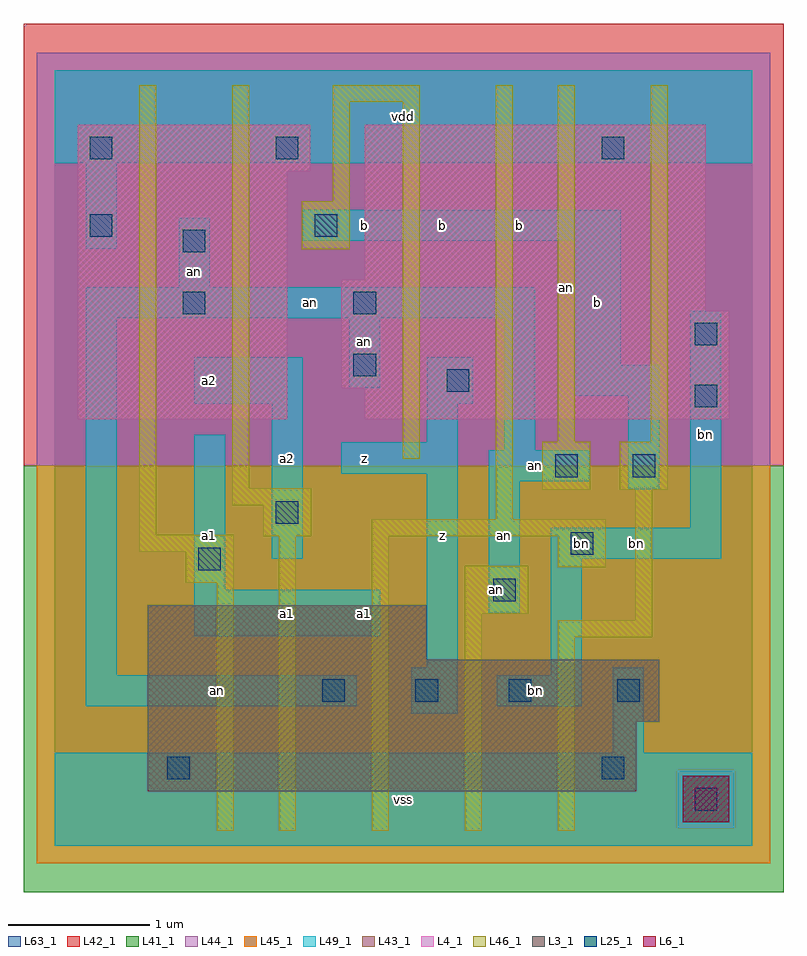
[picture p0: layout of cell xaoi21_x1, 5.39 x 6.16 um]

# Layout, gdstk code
import gdstk
lib = gdstk.Library(unit=1e-6, precision=1e-09)
def R(c, l, rs):  # rectangles x0, y0, x1, y1
    for r in rs: c.add(gdstk.rectangle(r[:2], r[2:], *l))
def A(c, l, x, y, w, h, nx, ny, dx, dy):  # array of equal rectangles
    R(c, l, [(x+i*dx, y+j*dy, x+i*dx+w, y+j*dy+h) for i in range(nx) for j in range(ny)])
L3_1 = (3, 1)
L4_1 = (4, 1)
L6_1 = (6, 1)
L25_1 = (25, 1)
L41_1 = (41, 1)
L42_1 = (42, 1)
L43_1 = (43, 1)
L44_1 = (44, 1)
L45_1 = (45, 1)
L46_1 = (46, 1)
L49_1 = (49, 1)
L63_1 = (63, 1)

xaoi21_x1 = lib.new_cell('xaoi21_x1')
R(xaoi21_x1, L3_1, [(0.66,0.385,4.125,0.88), (0.66,0.88,4.29,1.32), (0.66,1.32,2.64,1.705)])
R(xaoi21_x1, L4_1, [(0.165,3.025,1.65,4.785), (2.2,3.025,4.785,3.245), (2.035,3.245,4.785,3.795), (2.035,3.795,4.62,4.015), (2.2,4.015,4.62,5.115), (0.165,4.785,1.815,5.115)])
R(xaoi21_x1, L6_1, [(4.455,0.165,4.785,0.495)])
A(xaoi21_x1, L25_1, 1.9, 1.02, 0.16, 0.16, 3, 1, 0.66, 0)
R(xaoi21_x1, L25_1, [(4.54,0.25,4.7,0.41), (0.8,0.47,0.96,0.63), (3.88,0.47,4.04,0.63), (3.99,1.02,4.15,1.18), (3.11,1.735,3.27,1.895), (1.02,1.955,1.18,2.115), (3.66,2.065,3.82,2.225), (1.57,2.285,1.73,2.445), (3.55,2.615,3.71,2.775), (4.1,2.615,4.26,2.775), (4.54,3.11,4.7,3.27), (2.78,3.22,2.94,3.38), (2.12,3.33,2.28,3.49), (4.54,3.55,4.7,3.71), (0.91,3.77,1.07,3.93), (2.12,3.77,2.28,3.93), (0.91,4.21,1.07,4.37), (0.25,4.32,0.41,4.48), (1.845,4.32,2.005,4.48), (0.25,4.87,0.41,5.03), (1.57,4.87,1.73,5.03), (3.88,4.87,4.04,5.03)])
R(xaoi21_x1, L41_1, [(-0.22,-0.33,5.17,2.695)])
R(xaoi21_x1, L42_1, [(-0.22,2.695,5.17,5.83)])
R(xaoi21_x1, L43_1, [(4.455,0.165,4.785,0.495), (0.66,0.385,4.125,0.88), (0.66,0.88,4.29,1.32), (0.66,1.32,2.64,1.705), (0.165,3.025,1.65,4.785), (2.2,3.025,4.785,3.245), (2.035,3.245,4.785,3.795), (2.035,3.795,4.62,4.015), (2.2,4.015,4.62,5.115), (0.165,4.785,1.815,5.115)])
R(xaoi21_x1, L44_1, [(4.415,0.125,4.825,0.535), (-0.125,2.695,5.075,5.625)])
R(xaoi21_x1, L45_1, [(-0.125,-0.125,5.075,0.125), (-0.125,0.125,4.415,0.535), (4.825,0.125,5.075,0.535), (-0.125,0.535,5.075,2.695)])
R(xaoi21_x1, L46_1, [(1.15,0.105,1.27,1.865), (1.59,0.105,1.71,2.195), (2.25,0.105,2.37,2.195), (2.91,0.105,3.03,1.645), (3.57,0.105,3.69,1.48), (3.57,1.48,4.24,1.6), (4.12,1.6,4.24,2.525), (2.91,1.645,3.36,1.985), (0.93,1.865,1.27,2.085), (3.57,1.975,3.91,2.195), (0.6,2.085,1.27,2.205), (1.48,2.195,1.82,2.415), (2.25,2.195,3.91,2.315), (0.6,2.205,0.72,5.395), (3.13,2.315,3.25,5.395), (1.26,2.415,1.82,2.535), (3.46,2.525,3.8,2.865), (4.01,2.525,4.35,2.865), (1.26,2.535,1.38,5.395), (2.47,2.745,2.59,5.275), (3.57,2.865,3.69,5.395), (4.23,2.865,4.35,5.395), (1.755,4.23,2.095,4.57), (1.975,4.57,2.095,5.275), (1.975,5.275,2.59,5.395)])
R(xaoi21_x1, L49_1, [(0,0,4.95,0.66), (3.96,0.66,4.18,1.265), (2.53,0.935,2.86,1.265), (0.22,0.99,2.145,1.21), (3.135,0.99,3.74,1.21), (0.22,1.21,0.44,3.74), (3.52,1.21,3.74,2.035), (2.64,1.265,2.86,2.64), (0.99,1.485,2.31,1.815), (3.08,1.65,3.3,2.585), (0.99,1.815,1.21,2.915), (1.54,2.035,1.76,3.135), (3.52,2.035,4.73,2.255), (4.51,2.255,4.73,3.795), (4.07,2.53,4.29,3.19), (3.08,2.585,3.795,2.805), (2.035,2.64,2.86,2.86), (3.19,2.805,3.41,3.74), (2.64,2.86,2.86,3.135), (0.99,3.135,1.76,3.465), (2.64,3.135,2.97,3.465), (3.685,3.19,4.29,3.41), (2.09,3.245,2.31,3.74), (3.685,3.41,4.015,4.29), (0.22,3.74,3.41,3.96), (0.88,3.96,1.1,4.455), (0.22,4.235,0.44,4.84), (1.76,4.29,4.015,4.51), (0,4.84,4.95,5.5)])
R(xaoi21_x1, L63_1, [(0,0,4.95,5.5)])
xaoi21_x1.add(gdstk.Label('an', (3.135,1.815), layer=49, texttype=1))
xaoi21_x1.add(gdstk.Label('bn', (3.74,2.145), layer=49, texttype=1))
xaoi21_x1.add(gdstk.Label('an', (3.63,3.96), layer=46, texttype=1))
xaoi21_x1.add(gdstk.Label('a1', (1.65,1.65), layer=49, texttype=1))
xaoi21_x1.add(gdstk.Label('a1', (1.65,1.65), layer=49, texttype=1))
xaoi21_x1.add(gdstk.Label('a1', (1.1,2.2), layer=49, texttype=1))
xaoi21_x1.add(gdstk.Label('a1', (1.1,2.2), layer=49, texttype=1))
xaoi21_x1.add(gdstk.Label('a2', (1.65,2.75), layer=49, texttype=1))
xaoi21_x1.add(gdstk.Label('a2', (1.65,2.75), layer=49, texttype=1))
xaoi21_x1.add(gdstk.Label('a2', (1.1,3.3), layer=49, texttype=1))
xaoi21_x1.add(gdstk.Label('a2', (1.1,3.3), layer=49, texttype=1))
xaoi21_x1.add(gdstk.Label('an', (0.99,4.07), layer=49, texttype=1))
xaoi21_x1.add(gdstk.Label('vss', (2.475,0.33), layer=49, texttype=1))
xaoi21_x1.add(gdstk.Label('vss', (2.475,0.33), layer=49, texttype=1))
xaoi21_x1.add(gdstk.Label('an', (1.155,1.1), layer=49, texttype=1))
xaoi21_x1.add(gdstk.Label('a1', (2.2,1.65), layer=49, texttype=1))
xaoi21_x1.add(gdstk.Label('a1', (2.2,1.65), layer=49, texttype=1))
xaoi21_x1.add(gdstk.Label('z', (2.75,2.2), layer=49, texttype=1))
xaoi21_x1.add(gdstk.Label('z', (2.75,2.2), layer=49, texttype=1))
xaoi21_x1.add(gdstk.Label('z', (2.2,2.75), layer=49, texttype=1))
xaoi21_x1.add(gdstk.Label('z', (2.2,2.75), layer=49, texttype=1))
xaoi21_x1.add(gdstk.Label('an', (2.2,3.575), layer=49, texttype=1))
xaoi21_x1.add(gdstk.Label('b', (2.2,4.4), layer=49, texttype=1))
xaoi21_x1.add(gdstk.Label('b', (2.75,4.4), layer=49, texttype=1))
xaoi21_x1.add(gdstk.Label('b', (2.75,4.4), layer=49, texttype=1))
xaoi21_x1.add(gdstk.Label('b', (2.2,4.4), layer=49, texttype=1))
xaoi21_x1.add(gdstk.Label('vdd', (2.475,5.17), layer=49, texttype=1))
xaoi21_x1.add(gdstk.Label('vdd', (2.475,5.17), layer=49, texttype=1))
xaoi21_x1.add(gdstk.Label('bn', (3.41,1.1), layer=49, texttype=1))
xaoi21_x1.add(gdstk.Label('an', (3.19,2.2), layer=49, texttype=1))
xaoi21_x1.add(gdstk.Label('an', (3.41,2.695), layer=49, texttype=1))
xaoi21_x1.add(gdstk.Label('an', (1.815,3.85), layer=49, texttype=1))
xaoi21_x1.add(gdstk.Label('b', (3.85,3.85), layer=49, texttype=1))
xaoi21_x1.add(gdstk.Label('b', (3.85,3.85), layer=49, texttype=1))
xaoi21_x1.add(gdstk.Label('b', (3.3,4.4), layer=49, texttype=1))
xaoi21_x1.add(gdstk.Label('b', (3.3,4.4), layer=49, texttype=1))
xaoi21_x1.add(gdstk.Label('bn', (4.125,2.145), layer=49, texttype=1))
xaoi21_x1.add(gdstk.Label('bn', (4.62,2.915), layer=49, texttype=1))

lib.write_gds('xaoi21_x1.gds')
